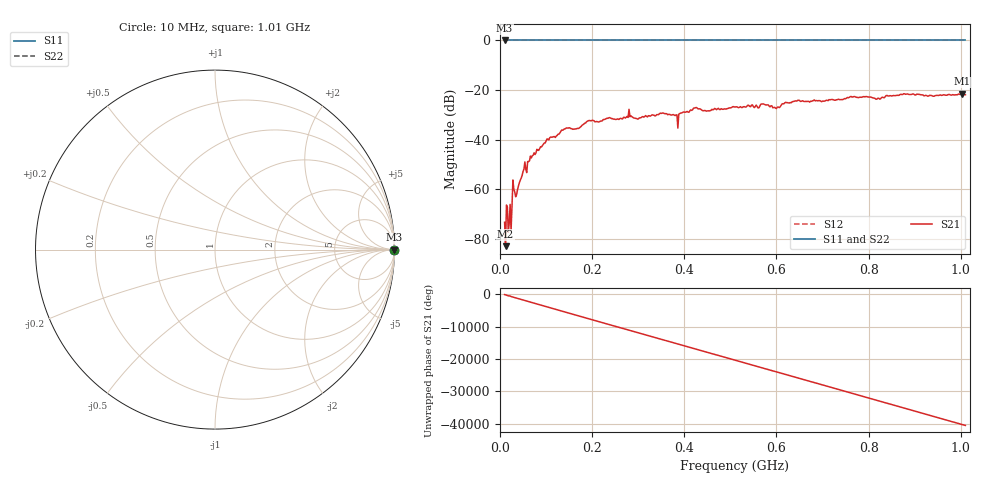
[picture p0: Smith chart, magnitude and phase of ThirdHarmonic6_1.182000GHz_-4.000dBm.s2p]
! 8/16/2025 12:04:23 PM
! C:\ANRITSUVNA\TEMP\TEMP.S2P
! CHANNEL.1
! TR.MEASUREMENT
! RAW.DATA
! RF.CORRECTION.OFF
! AVERAGING.OFF
! IF.BANDWIDTH: 5KHZ
! SWEEPTYPE:  FREQ.SWEEP(Linear)
! Reference Plane Port Info
! PORT:  PORT1  PORT2
! DISTANCE:  0  m  0  m
! TIME:  0  s  0  s
! PHASE.OFFSET:  0  deg.  0  deg.
! LOSS:  0  dB  0  dB
! REF.LOSS:  0  dB  0  dB
! REF.FREQ:  0  Hz  0  Hz
! Power Info
! POWER:  -20  dBm  -20  dBm
! EFF.POWER:  -20  dBm  -20  dBm
! SOURCE.ATTEN:  0  dB  0  dB
! TEST.ATTEN:  0  dB  0  dB
# GHZ S RI R 50.0
! FREQ.GHZ  S11RE  S11IM  S21RE  S21IM  S12RE  S12IM  S22RE  S22IM
!; PortSelection: Port_12
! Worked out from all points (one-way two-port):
!   501 points, 10 MHz to 1.01 GHz, reference 50 ohm
!   highest |S21| = -21.41 dB at 1.002 GHz (marker M1); lowest = -82.9 dB at 12 MHz (marker M2)
!   lowest |S11| = 0.0 dB at 10 MHz (marker M3)
!   |S11| at or under -10 dB: nowhere
!   |S22| runs from 0.0 to 0.0 dB; largest |S21 - S12| = 1.1
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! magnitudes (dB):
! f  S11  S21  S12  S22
! 10 MHz  0.0  -73.3  0.0  0.0
! 12 MHz  0.0  -82.9  0.0  0.0
! 16 MHz  0.0  -67.1  0.0  0.0
! 18 MHz  0.0  -77.3  0.0  0.0
! 22 MHz  0.0  -66.1  0.0  0.0
! 26 MHz  0.0  -67.1  0.0  0.0
! 30 MHz  0.0  -60.0  0.0  0.0
! 38 MHz  0.0  -60.1  0.0  0.0
! 50 MHz  0.0  -52.8  0.0  0.0
! 70 MHz  0.0  -46.5  0.0  0.0
! 136 MHz  0.0  -36.2  0.0  0.0
! 178 MHz  0.0  -34.2  0.0  0.0
! 196 MHz  0.0  -32.3  0.0  0.0
! 344 MHz  0.0  -29.9  0.0  0.0
! 382 MHz  0.0  -30.0  0.0  0.0
! 424 MHz  0.0  -27.1  0.0  0.0
! 510 MHz  0.0  -26.8  0.0  0.0
! 602 MHz  0.0  -26.9  0.0  0.0
! 678 MHz  0.0  -24.3  0.0  0.0
! 844 MHz  0.0  -22.4  0.0  0.0
! 1.002 GHz  0.0  -21.4  0.0  0.0
! 1.01 GHz  0.0  -21.9  0.0  0.0
